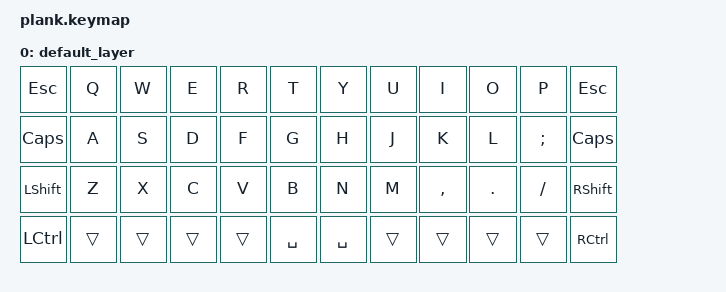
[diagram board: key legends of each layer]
#include <behaviors.dtsi>
#include <dt-bindings/zmk/keys.h>

#define BASE 0

/ {
	keymap {
		compatible = "zmk,keymap";

		default_layer {
			bindings = <
/* ╭─────────────┬─────────────┬─────────────┬─────────────┬─────────────┬─────────────┬─────────────┬─────────────┬─────────────┬─────────────┬─────────────┬─────────────╮  */
       &kp ESC        &kp Q         &kp W         &kp E         &kp R         &kp T         &kp Y         &kp U         &kp I         &kp O         &kp P        &kp ESC
/* ├─────────────┼─────────────┼─────────────┼─────────────┼─────────────┼─────────────├─────────────┼─────────────┼─────────────┼─────────────┼─────────────┼─────────────┤  */
      &kp CAPS        &kp A         &kp S         &kp D         &kp F         &kp G         &kp H         &kp J        &kp K          &kp L        &kp SEMI     &kp CAPS
/* ├─────────────┼─────────────┼─────────────┼─────────────┼─────────────┼─────────────├─────────────┼─────────────┼─────────────┼─────────────┼─────────────┼─────────────┤  */
      &kp LSHFT       &kp Z         &kp X         &kp C         &kp V         &kp B         &kp N         &kp M       &kp COMMA      &kp DOT       &kp FSLH     &kp RSHFT
/* ├─────────────┼─────────────┼─────────────┼─────────────┼─────────────┼─────────────├─────────────┼─────────────┼─────────────┼─────────────┼─────────────┼─────────────┤  */
      &kp LCTRL       &trans        &trans        &trans        &trans      &kp SPACE     &kp SPACE       &trans        &trans        &trans        &trans      &kp RCTRL
/* ╰─────────────┴─────────────┴─────────────┴─────────────┴─────────────┴─────────────┴─────────────┴─────────────┴─────────────┴─────────────┴─────────────┴─────────────╯  */
			>;
        };


    };
};
